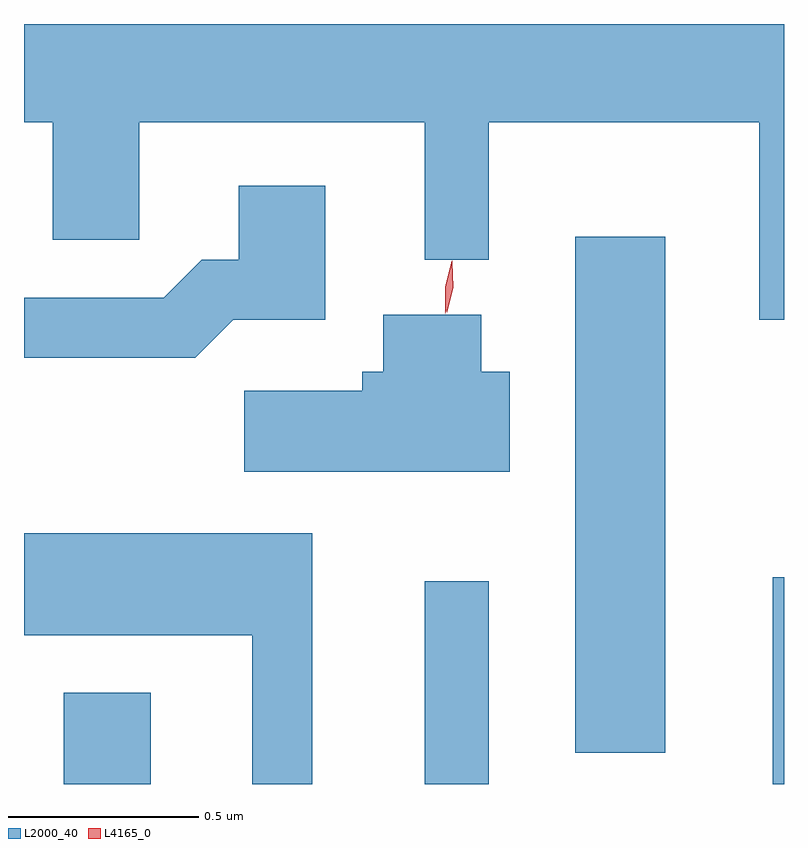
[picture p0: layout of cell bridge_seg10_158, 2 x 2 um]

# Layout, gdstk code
import gdstk
lib = gdstk.Library(unit=1e-6, precision=1e-09)
def R(c, l, rs):  # rectangles x0, y0, x1, y1
    for r in rs: c.add(gdstk.rectangle(r[:2], r[2:], *l))
def P(c, l, *ps):  # polygons
    for p in ps: c.add(gdstk.Polygon(p, *l))
L2000_40 = (2000, 40)
L4165_0 = (4165, 0)

bridge_seg10_158 = lib.new_cell('bridge_seg10_158')
R(bridge_seg10_158, L2000_40, [(1494.891,2132.154,1495.119,2132.394), (1495.841,2132.154,1496.009,2132.688), (1496.756,2132.154,1496.786,2132.698), (1496.236,2132.236,1496.474,2133.594)])
P(bridge_seg10_158, L2000_40, [(1496.786,2134.154),(1494.786,2134.154),(1494.786,2133.896),(1494.861,2133.896),(1494.861,2133.586),(1495.089,2133.586),(1495.089,2133.896),(1495.841,2133.896),(1495.841,2133.533),(1496.009,2133.533),(1496.009,2133.896),(1496.721,2133.896),(1496.721,2133.376),(1496.786,2133.376)],
  [(1495.337,2133.376),(1495.579,2133.376),(1495.579,2133.729),(1495.351,2133.729),(1495.351,2133.534),(1495.254,2133.534),(1495.154,2133.434),(1494.786,2133.434),(1494.786,2133.276),(1495.237,2133.276)],
  [(1496.064,2133.239),(1495.989,2133.239),(1495.989,2133.389),(1495.731,2133.389),(1495.731,2133.239),(1495.676,2133.239),(1495.676,2133.189),(1495.366,2133.189),(1495.366,2132.976),(1496.064,2132.976)],
  [(1495.544,2132.814),(1494.786,2132.814),(1494.786,2132.546),(1495.386,2132.546),(1495.386,2132.154),(1495.544,2132.154)])
P(bridge_seg10_158, L4165_0, [(1495.895,2133.392),(1495.894,2133.393),(1495.894,2133.463),(1495.912,2133.53),(1495.913,2133.531),(1495.913,2133.53),(1495.914,2133.46),(1495.895,2133.393)],
  [(1495.9,2133.396),(1495.899,2133.397),(1495.896,2133.463),(1495.912,2133.527),(1495.913,2133.528),(1495.913,2133.527),(1495.916,2133.461),(1495.9,2133.397)])

lib.write_gds('bridge_seg10_158.gds')
